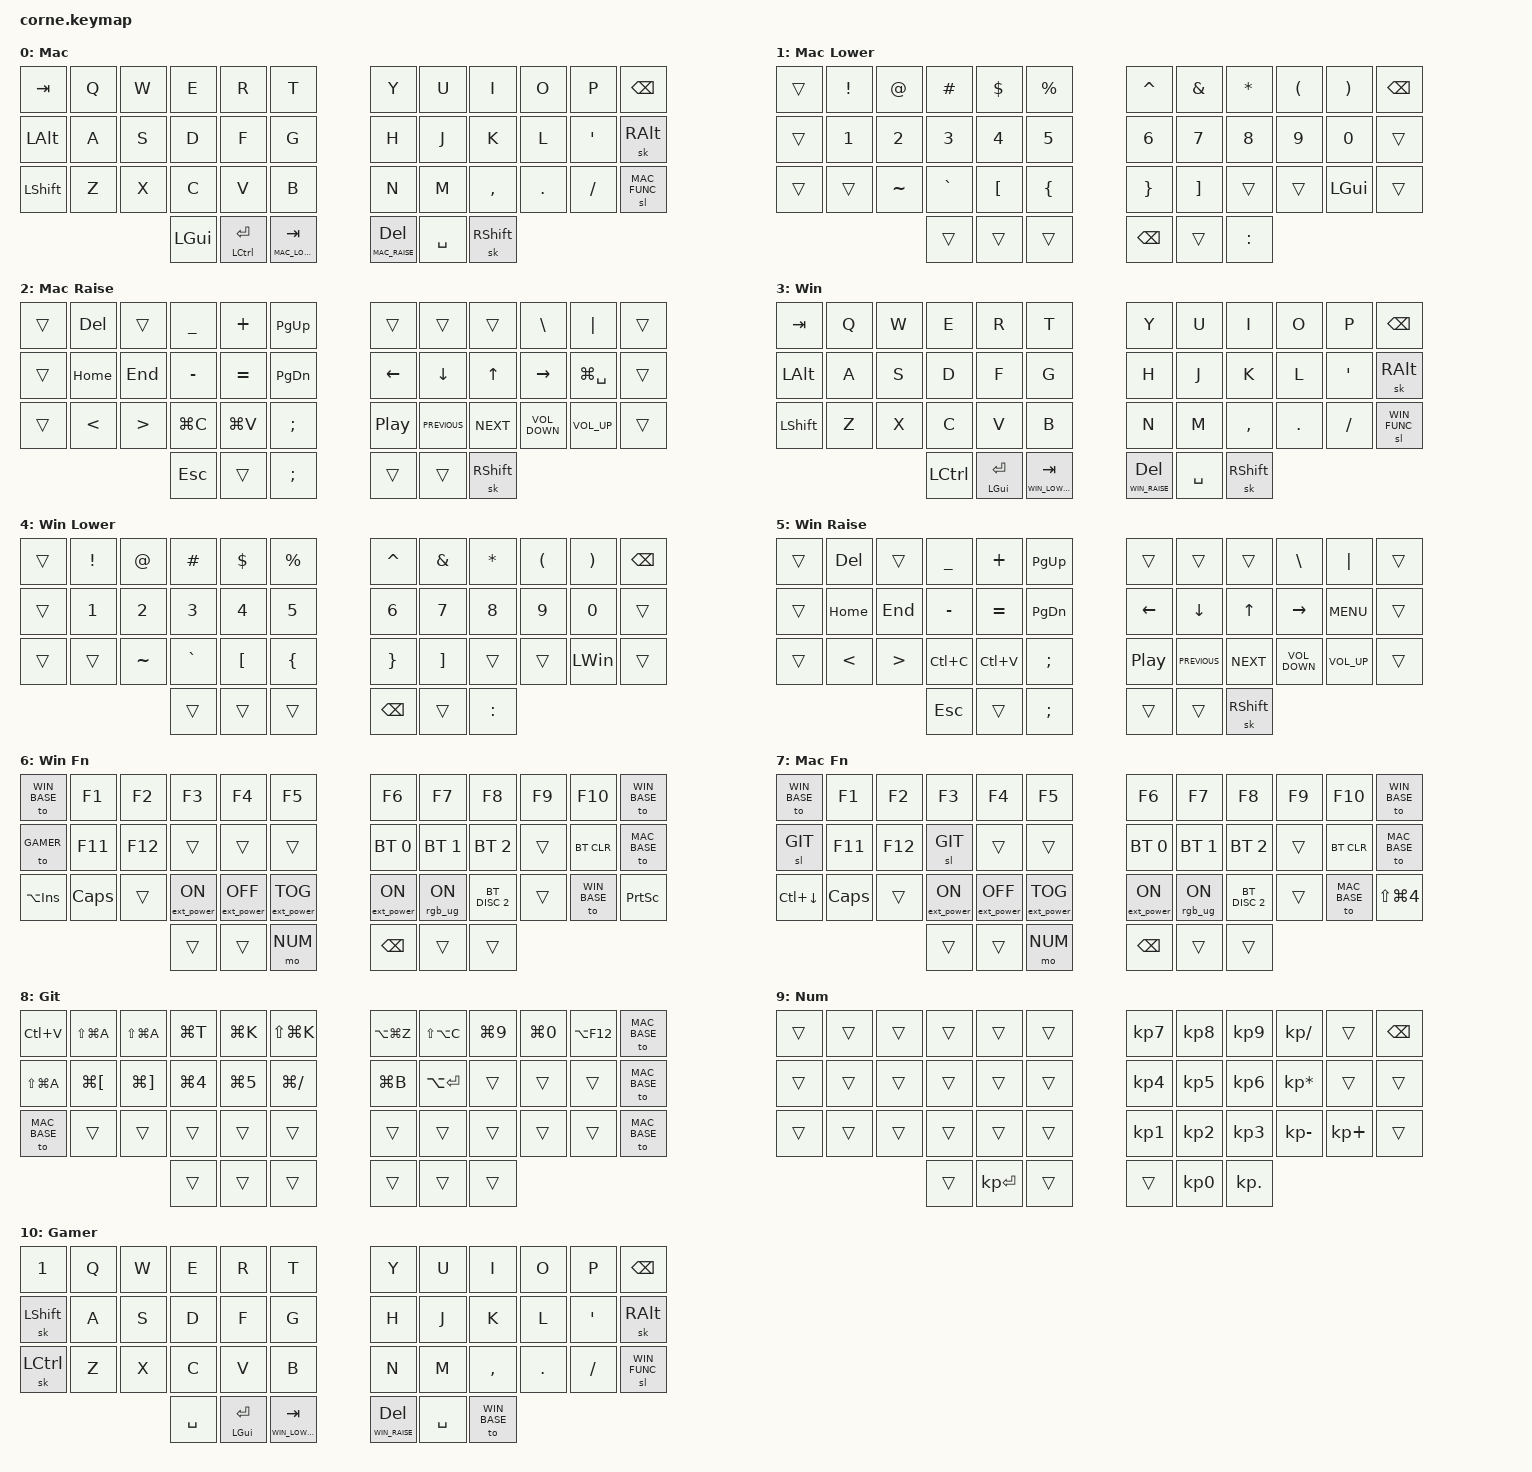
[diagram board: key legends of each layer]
/*
 * Copyright 2024 Michał Minarowski (@n3oney)
 * 
 * Originally created for QMK by Mark Stosberg (@markstos)
 * 
 * SPDX-License-Identifier: GPL-2.0-or-later
 */

#include <behaviors.dtsi>
#include <dt-bindings/zmk/bt.h>
#include <dt-bindings/zmk/ext_power.h>
#include <dt-bindings/zmk/keys.h>
#include <dt-bindings/zmk/rgb.h>

#define MAC_BASE 0
#define MAC_LOWER 1
#define MAC_RAISE 2
#define WIN_BASE 3
#define WIN_LOWER 4
#define WIN_RAISE 5
#define WIN_FUNC 6
#define MAC_FUNC 7
#define GIT 8
#define NUM 9
#define GAMER 10

/ {
    combos {
        compatible = "zmk,combos";

        Scape {
            bindings = <&kp ESCAPE>;
            key-positions = <0 1>;
        };
    };

    keymap {
        compatible = "zmk,keymap";

        mac_base_layer {
            display-name = "Mac";

            bindings = <
&kp TAB       &kp Q  &kp W  &kp E             &kp R                  &kp T        &kp Y         &kp U      &kp I            &kp O    &kp P             &kp BACKSPACE
&kp LEFT_ALT  &kp A  &kp S  &kp D             &kp F                  &kp G        &kp H         &kp J      &kp K            &kp L    &kp SINGLE_QUOTE  &sk RIGHT_ALT
&kp LSHFT     &kp Z  &kp X  &kp C             &kp V                  &kp B        &kp N         &kp M      &kp COMMA        &kp DOT  &kp FSLH          &sl MAC_FUNC
                            &kp LEFT_GUI      &mt LEFT_CONTROL ENTER  &lt MAC_LOWER TAB  &lt MAC_RAISE DELETE  &kp SPACE  &sk RIGHT_SHIFT
            >;
        };

        mac_lower_layer {
            display-name = "Mac Lower";

            bindings = <
&trans  &kp EXCLAMATION  &kp AT_SIGN   &kp POUND     &kp DOLLAR        &kp PERCENT       &kp CARET        &kp AMPERSAND      &kp ASTERISK  &kp LEFT_PARENTHESIS  &kp RIGHT_PARENTHESIS  &kp BACKSPACE
&trans  &kp NUMBER_1     &kp NUMBER_2  &kp NUMBER_3  &kp NUMBER_4      &kp NUMBER_5      &kp NUMBER_6     &kp NUMBER_7       &kp NUMBER_8  &kp NUMBER_9          &kp NUMBER_0           &trans
&trans  &trans           &kp TILDE     &kp GRAVE     &kp LEFT_BRACKET  &kp LEFT_BRACE    &kp RIGHT_BRACE  &kp RIGHT_BRACKET  &trans        &trans                &kp LEFT_GUI           &trans
                                       &trans        &trans            &trans            &kp BACKSPACE    &trans             &kp COLON
            >;
        };

        mac_raise_layer {
            display-name = "Mac Raise";

            bindings = <
&trans  &kp DELETE     &trans            &kp UNDERSCORE  &kp PLUS     &kp PAGE_UP      &trans            &trans          &trans           &kp BACKSLASH      &kp PIPE         &trans
&trans  &kp HOME       &kp END           &kp MINUS       &kp EQUAL    &kp PAGE_DOWN    &kp LEFT          &kp DOWN        &kp UP_ARROW     &kp RIGHT          &kp LG(SPACE)    &trans
&trans  &kp LESS_THAN  &kp GREATER_THAN  &kp LG(C)       &kp LG(V)    &kp SEMICOLON    &kp C_PLAY_PAUSE  &kp C_PREVIOUS  &kp C_NEXT       &kp C_VOLUME_DOWN  &kp C_VOLUME_UP  &trans
                                         &kp ESCAPE      &trans       &kp SEMI         &trans            &trans          &sk RIGHT_SHIFT
            >;
        };

        win_base_layer {
            display-name = "Win";

            bindings = <
&kp TAB    &kp Q  &kp W  &kp E             &kp R               &kp T        &kp Y         &kp U      &kp I            &kp O    &kp P             &kp BACKSPACE
&kp LALT   &kp A  &kp S  &kp D             &kp F               &kp G        &kp H         &kp J      &kp K            &kp L    &kp SINGLE_QUOTE  &sk RIGHT_ALT
&kp LSHFT  &kp Z  &kp X  &kp C             &kp V               &kp B        &kp N         &kp M      &kp COMMA        &kp DOT  &kp FSLH          &sl WIN_FUNC
                         &kp LEFT_CONTROL  &mt LEFT_GUI ENTER  &lt WIN_LOWER TAB  &lt WIN_RAISE DELETE  &kp SPACE  &sk RIGHT_SHIFT
            >;
        };

        win_lower_layer {
            display-name = "Win Lower";

            bindings = <
&trans  &kp EXCLAMATION  &kp AT_SIGN   &kp POUND     &kp DOLLAR        &kp PERCENT       &kp CARET        &kp AMPERSAND      &kp ASTERISK  &kp LEFT_PARENTHESIS  &kp RIGHT_PARENTHESIS  &kp BACKSPACE
&trans  &kp NUMBER_1     &kp NUMBER_2  &kp NUMBER_3  &kp NUMBER_4      &kp NUMBER_5      &kp NUMBER_6     &kp NUMBER_7       &kp NUMBER_8  &kp NUMBER_9          &kp NUMBER_0           &trans
&trans  &trans           &kp TILDE     &kp GRAVE     &kp LEFT_BRACKET  &kp LEFT_BRACE    &kp RIGHT_BRACE  &kp RIGHT_BRACKET  &trans        &trans                &kp LEFT_WIN           &trans
                                       &trans        &trans            &trans            &kp BACKSPACE    &trans             &kp COLON
            >;
        };

        win_raise_layer {
            display-name = "Win Raise";

            bindings = <
&trans  &kp DELETE     &trans            &kp UNDERSCORE  &kp PLUS     &kp PAGE_UP      &trans            &trans          &trans           &kp BACKSLASH      &kp PIPE         &trans
&trans  &kp HOME       &kp END           &kp MINUS       &kp EQUAL    &kp PAGE_DOWN    &kp LEFT          &kp DOWN        &kp UP_ARROW     &kp RIGHT          &kp K_MENU       &trans
&trans  &kp LESS_THAN  &kp GREATER_THAN  &kp LC(C)       &kp LC(V)    &kp SEMICOLON    &kp C_PLAY_PAUSE  &kp C_PREVIOUS  &kp C_NEXT       &kp C_VOLUME_DOWN  &kp C_VOLUME_UP  &trans
                                         &kp ESCAPE      &trans       &kp SEMI         &trans            &trans          &sk RIGHT_SHIFT
            >;
        };

        win_function_layer {
            display-name = "Win Fn";

            bindings = <
&to WIN_BASE     &kp F1    &kp F2   &kp F3            &kp F4             &kp F5               &kp F6            &kp F7          &kp F8         &kp F9  &kp F10     &to WIN_BASE
&to GAMER        &kp F11   &kp F12  &trans            &trans             &trans               &bt BT_SEL 0      &bt BT_SEL 1    &bt BT_SEL 2   &trans  &bt BT_CLR  &to MAC_BASE
&kp LA(INSERT)   &kp CAPS  &trans   &ext_power EP_ON  &ext_power EP_OFF  &ext_power EP_TOG    &ext_power EP_ON  &rgb_ug RGB_ON  &bt BT_DISC 2  &trans  &to WIN_BASE  &kp PRINTSCREEN
                                    &trans            &trans             &mo NUM              &kp BACKSPACE     &trans          &trans
            >;
        };

        mac_function_layer {
            display-name = "Mac Fn";

            bindings = <
&to WIN_BASE     &kp F1    &kp F2   &kp F3            &kp F4             &kp F5               &kp F6            &kp F7          &kp F8         &kp F9  &kp F10     &to WIN_BASE
&sl GIT          &kp F11   &kp F12  &sl GIT           &trans             &trans               &bt BT_SEL 0      &bt BT_SEL 1    &bt BT_SEL 2   &trans  &bt BT_CLR  &to MAC_BASE
&kp LC(DOWN_ARROW) &kp CAPS  &trans   &ext_power EP_ON  &ext_power EP_OFF  &ext_power EP_TOG    &ext_power EP_ON  &rgb_ug RGB_ON  &bt BT_DISC 2  &trans  &to MAC_BASE  &kp LS(LG(NUMBER_4))
                                    &trans            &trans             &mo NUM              &kp BACKSPACE     &trans          &trans
            >;
        };

        git_layer {
            display-name = "Git";

            bindings = <
&kp LC(V)       &kp LS(LG(A)) &kp LS(LG(A)) &kp LG(T)       &kp LG(K)          &kp LS(LG(K))     &kp LA(LG(Z))  &kp LS(LA(C))  &kp LG(NUMBER_9)  &kp LG(NUMBER_0)  &kp LA(F12)  &to MAC_BASE
&kp LS(LG(A))   &kp LG(LEFT_BRACKET) &kp LG(RIGHT_BRACKET) &kp LG(NUMBER_4) &kp LG(NUMBER_5) &kp LG(FSLH)    &kp LG(B)      &kp LA(ENTER)  &trans           &trans            &trans        &to MAC_BASE
&to MAC_BASE     &trans        &trans        &trans          &trans             &trans             &trans         &trans         &trans           &trans            &trans        &to MAC_BASE
                                         &trans          &trans             &trans         &trans           &trans         &trans
            >;
        };

        number_layer {
            display-name = "Num";

            bindings = <
&trans  &trans  &trans  &trans  &trans        &trans    &kp KP_NUMBER_7  &kp KP_NUMBER_8  &kp KP_NUMBER_9  &kp KP_DIVIDE    &trans       &kp BACKSPACE
&trans  &trans  &trans  &trans  &trans        &trans    &kp KP_NUMBER_4  &kp KP_NUMBER_5  &kp KP_NUMBER_6  &kp KP_MULTIPLY  &trans       &trans
&trans  &trans  &trans  &trans  &trans        &trans    &kp KP_NUMBER_1  &kp KP_NUMBER_2  &kp KP_NUMBER_3  &kp KP_MINUS     &kp KP_PLUS  &trans
                        &trans  &kp KP_ENTER  &trans    &trans           &kp KP_NUMBER_0  &kp KP_DOT
            >;
        };

        gamer_layer {
            display-name = "Gamer";

            bindings = <
&kp NUMBER_1      &kp Q  &kp W  &kp E      &kp R               &kp T        &kp Y         &kp U      &kp I      &kp O    &kp P             &kp BACKSPACE
&sk LEFT_SHIFT    &kp A  &kp S  &kp D      &kp F               &kp G        &kp H         &kp J      &kp K      &kp L    &kp SINGLE_QUOTE  &sk RIGHT_ALT
&sk LEFT_CONTROL  &kp Z  &kp X  &kp C      &kp V               &kp B        &kp N         &kp M      &kp COMMA  &kp DOT  &kp FSLH          &sl WIN_FUNC
                                &kp SPACE  &mt LEFT_GUI ENTER  &lt WIN_LOWER TAB  &lt WIN_RAISE DELETE  &kp SPACE  &to WIN_BASE
            >;
        };
    };
};
